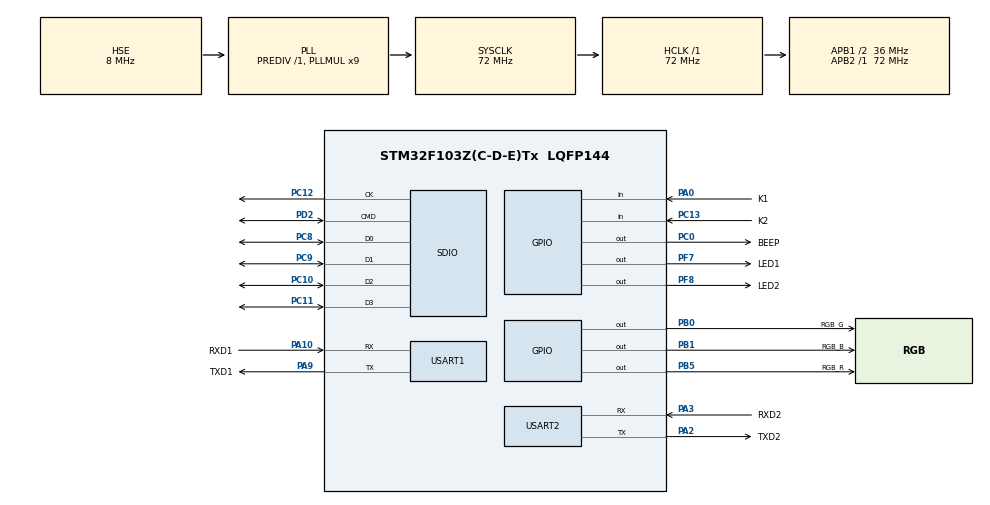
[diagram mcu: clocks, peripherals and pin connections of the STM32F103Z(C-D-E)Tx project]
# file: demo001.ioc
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Dma.Request0=SDIO
Dma.SDIO.0.Direction=DMA_PERIPH_TO_MEMORY
Dma.SDIO.0.Instance=DMA2_Channel4
Dma.SDIO.0.MemDataAlignment=DMA_MDATAALIGN_WORD
Dma.SDIO.0.MemInc=DMA_MINC_ENABLE
Dma.SDIO.0.Mode=DMA_CIRCULAR
Dma.SDIO.0.PeriphDataAlignment=DMA_PDATAALIGN_WORD
Dma.SDIO.0.PeriphInc=DMA_PINC_DISABLE
Dma.SDIO.0.Priority=DMA_PRIORITY_LOW
FATFS._CODE_PAGE=936
FATFS._FS_MINIMIZE=2
FATFS._FS_REENTRANT=0
FATFS._MAX_LFN=128
FATFS._USE_LFN=2
FATFS._USE_STRFUNC=2
FREERTOS.Mutexes01=AppPrintfMutex,Dynamic,NULL
FREERTOS.Tasks01=defaultTask,24,1024,StartDefaultTask,Default,NULL,Dynamic,NULL,NULL
FREERTOS.configTOTAL_HEAP_SIZE=10240
Mcu.Family=STM32F1
Mcu.Name=STM32F103Z(C-D-E)Tx
Mcu.Package=LQFP144
NVIC.DMA2_Channel4_5_IRQn=true\:5\:0\:false\:false\:true\:true\:false\:true\:true
NVIC.PriorityGroup=NVIC_PRIORITYGROUP_4
NVIC.SDIO_IRQn=true\:6\:0\:true\:false\:true\:true\:true\:true\:true
OSC_IN.Mode=HSE-External-Oscillator
OSC_IN.Signal=RCC_OSC_IN
OSC_OUT.Mode=HSE-External-Oscillator
OSC_OUT.Signal=RCC_OSC_OUT
PA0-WKUP.GPIO_Label=K1
PA0-WKUP.Signal=GPIO_Input
PA10.GPIO_Label=RXD1
PA10.Mode=Asynchronous
PA10.Signal=USART1_RX
PA13.Mode=Serial_Wire
PA13.Signal=SYS_JTMS-SWDIO
PA14.Mode=Serial_Wire
PA14.Signal=SYS_JTCK-SWCLK
PA2.GPIO_Label=TXD2
PA2.Mode=Asynchronous
PA2.Signal=USART2_TX
PA3.GPIO_Label=RXD2
PA3.Mode=Asynchronous
PA3.Signal=USART2_RX
PA9.GPIO_Label=TXD1
PA9.Mode=Asynchronous
PA9.Signal=USART1_TX
PB0.GPIO_Label=RGB_G
PB0.PinState=GPIO_PIN_SET
PB0.Signal=GPIO_Output
PB1.GPIO_Label=RGB_B
PB1.PinState=GPIO_PIN_SET
PB1.Signal=GPIO_Output
PB5.GPIO_Label=RGB_R
PB5.PinState=GPIO_PIN_SET
PB5.Signal=GPIO_Output
PC0.GPIO_Label=BEEP
PC0.GPIO_Speed=GPIO_SPEED_FREQ_HIGH
PC0.Signal=GPIO_Output
PC10.Mode=SD_4_bits_Wide_bus
PC10.Signal=SDIO_D2
PC11.Mode=SD_4_bits_Wide_bus
PC11.Signal=SDIO_D3
PC12.Mode=SD_4_bits_Wide_bus
PC12.Signal=SDIO_CK
PC13-TAMPER-RTC.GPIO_Label=K2
PC13-TAMPER-RTC.Signal=GPIO_Input
PC8.Mode=SD_4_bits_Wide_bus
PC8.Signal=SDIO_D0
PC9.Mode=SD_4_bits_Wide_bus
PC9.Signal=SDIO_D1
PD2.Mode=SD_4_bits_Wide_bus
PD2.Signal=SDIO_CMD
PF7.GPIO_Label=LED1
PF7.PinState=GPIO_PIN_SET
PF7.Signal=GPIO_Output
PF8.GPIO_Label=LED2
PF8.PinState=GPIO_PIN_SET
PF8.Signal=GPIO_Output
ProjectManager.HeapSize=0x200
ProjectManager.StackSize=0x1000
ProjectManager.TargetToolchain=MDK-ARM V5.32
RCC.AHBFreq_Value=72000000
RCC.APB1CLKDivider=RCC_HCLK_DIV2
RCC.APB1Freq_Value=36000000
RCC.APB1TimFreq_Value=72000000
RCC.APB2Freq_Value=72000000
RCC.APB2TimFreq_Value=72000000
RCC.HCLKFreq_Value=72000000
RCC.PLLMUL=RCC_PLL_MUL9
RCC.PLLSourceVirtual=RCC_PLLSOURCE_HSE
RCC.SYSCLKFreq_VALUE=72000000
RCC.SYSCLKSource=RCC_SYSCLKSOURCE_PLLCLK
RCC.USBFreq_Value=72000000
SDIO.ClockDiv=7
SDIO.HardwareFlowControl=SDIO_HARDWARE_FLOW_CONTROL_DISABLE
USART1.VirtualMode=VM_ASYNC
USART2.VirtualMode=VM_ASYNC
VP_FATFS_VS_SDIO.Mode=SDIO
VP_FREERTOS_VS_CMSIS_V2.Mode=CMSIS_V2
board=custom

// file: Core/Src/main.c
/* USER CODE BEGIN Header */
/**
  ******************************************************************************
  * @file           : main.c
  * @brief          : Main program body
  ******************************************************************************
  * @attention
  *
  * Copyright (c) 2023 STMicroelectronics.
  * All rights reserved.
  *
  * This software is licensed under terms that can be found in the LICENSE file
  * in the root directory of this software component.
  * If no LICENSE file comes with this software, it is provided AS-IS.
  *
  ******************************************************************************
  */
/* USER CODE END Header */
#include "main.h"
#include "cmsis_os.h"
#include "dma.h"
#include "fatfs.h"
#include "sdio.h"
#include "usart.h"
#include "gpio.h"

void SystemClock_Config(void);
void MX_FREERTOS_Init(void);
/* USER CODE BEGIN PFP */
extern uint8_t BSP_SD_Init(void);
/* USER CODE END PFP */

int main(void)
{

  /* MCU Configuration--------------------------------------------------------*/

  /* Reset of all peripherals, Initializes the Flash interface and the Systick. */
  HAL_Init();

  /* Configure the system clock */
  SystemClock_Config();

  /* Initialize all configured peripherals */
  MX_GPIO_Init();
  MX_DMA_Init();
  MX_SDIO_SD_Init();
  MX_USART1_UART_Init();
  MX_USART2_UART_Init();
  MX_FATFS_Init();
  /* USER CODE BEGIN 2 */
  //MX_FATFS_Init();//文件系统初始化函数 在里面注册我们选择的逻辑驱动的数量的驱动盘
  //cubemx初始化4线制 SDIO有bug 我们在挂载文件系统之前 将SDIO先设置为1线制
  //在挂载文件系统函数里有初始化函数(最后一步的初始化 调用函数SD_initialize 此函数在sd_diskio.c中) 此函数结束后，会在设置 成4线制
   hsd.Init.BusWide = SDIO_BUS_WIDE_1B;
  /* USER CODE END 2 */

  /* Init scheduler */
  osKernelInitialize();  /* Call init function for freertos objects (in freertos.c) */
  MX_FREERTOS_Init();

  /* Start scheduler */
  osKernelStart();
  /* We should never get here as control is now taken by the scheduler */
  /* Infinite loop */
  while (1)
  {

  }
}

void SystemClock_Config(void)
{
  RCC_OscInitTypeDef RCC_OscInitStruct = {0};
  RCC_ClkInitTypeDef RCC_ClkInitStruct = {0};

  /** Initializes the RCC Oscillators according to the specified parameters
  * in the RCC_OscInitTypeDef structure.
  */
  RCC_OscInitStruct.OscillatorType = RCC_OSCILLATORTYPE_HSE;
  RCC_OscInitStruct.HSEState = RCC_HSE_ON;
  RCC_OscInitStruct.HSEPredivValue = RCC_HSE_PREDIV_DIV1;
  RCC_OscInitStruct.HSIState = RCC_HSI_ON;
  RCC_OscInitStruct.PLL.PLLState = RCC_PLL_ON;
  RCC_OscInitStruct.PLL.PLLSource = RCC_PLLSOURCE_HSE;
  RCC_OscInitStruct.PLL.PLLMUL = RCC_PLL_MUL9;
  if (HAL_RCC_OscConfig(&RCC_OscInitStruct) != HAL_OK)
  {
    Error_Handler();
  }

  /** Initializes the CPU, AHB and APB buses clocks
  */
  RCC_ClkInitStruct.ClockType = RCC_CLOCKTYPE_HCLK|RCC_CLOCKTYPE_SYSCLK
                              |RCC_CLOCKTYPE_PCLK1|RCC_CLOCKTYPE_PCLK2;
  RCC_ClkInitStruct.SYSCLKSource = RCC_SYSCLKSOURCE_PLLCLK;
  RCC_ClkInitStruct.AHBCLKDivider = RCC_SYSCLK_DIV1;
  RCC_ClkInitStruct.APB1CLKDivider = RCC_HCLK_DIV2;
  RCC_ClkInitStruct.APB2CLKDivider = RCC_HCLK_DIV1;

  if (HAL_RCC_ClockConfig(&RCC_ClkInitStruct, FLASH_LATENCY_2) != HAL_OK)
  {
    Error_Handler();
  }
}

void Error_Handler(void)
{
  __disable_irq();
  while (1)
  {
  }
}

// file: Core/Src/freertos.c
/* USER CODE BEGIN Header */
/**
  ******************************************************************************
  * File Name          : freertos.c
  * Description        : Code for freertos applications
  ******************************************************************************
  * @attention
  *
  * Copyright (c) 2023 STMicroelectronics.
  * All rights reserved.
  *
  * This software is licensed under terms that can be found in the LICENSE file
  * in the root directory of this software component.
  * If no LICENSE file comes with this software, it is provided AS-IS.
  *
  ******************************************************************************
  */
/* USER CODE END Header */

#include "FreeRTOS.h"
#include "task.h"
#include "main.h"
#include "cmsis_os.h"

/* USER CODE BEGIN Includes */
#include "myinclude.h"
#include "sdio.h"
#include "usart.h"

#include "ff.h"
#include "ff_gen_drv.h"
#include "sd_diskio.h"
/* USER CODE END Includes */

/* USER CODE BEGIN PTD */

//extern Diskio_drvTypeDef  USER_Driver ;
//extern Diskio_drvTypeDef  SD_Driver ;
extern void MX_SDIO_SD_Init(void);
//extern char USERPath[4];                   /* SD卡逻辑设备路径 */
extern char SDPath[4];                   /* SD卡逻辑设备路径 */
FATFS fs;													/* FatFs文件系统对象 */
FIL file;													/* 文件对象 */
FRESULT f_res;                    /* 文件操作结果 */
UINT fnum;            					  /* 文件成功读写数量 */
BYTE ReadBuffer[1024]={0};        /* 读缓冲区 */
BYTE WriteBuffer[]= "壹贰叁肆cocoguojia test sdio 文件系统\r\n";
	uint32_t resTemp=0;
#define BLOCK_START_ADDR         0     /* Block start address      */
#define NUM_OF_BLOCKS            1   /* Total number of blocks   */
#define BUFFER_WORDS_SIZE        ((BLOCKSIZE * NUM_OF_BLOCKS) >> 2) /* Total data size in bytes */
void ShowFun(HAL_SD_CardStateTypeDef n);
static void printf_fatfs_error(FRESULT fresult);
void SD_Test(void);
/* USER CODE END PTD */

/* Definitions for defaultTask */
osThreadId_t defaultTaskHandle;
const osThreadAttr_t defaultTask_attributes = {
  .name = "defaultTask",
  .stack_size = 1024 * 4,
  .priority = (osPriority_t) osPriorityNormal,
};
/* Definitions for AppPrintfMutex */
osMutexId_t AppPrintfMutexHandle;
const osMutexAttr_t AppPrintfMutex_attributes = {
  .name = "AppPrintfMutex"
};

void StartDefaultTask(void *argument);

void MX_FREERTOS_Init(void); /* (MISRA C 2004 rule 8.1) */

void MX_FREERTOS_Init(void) {
  /* Create the mutex(es) */
  /* creation of AppPrintfMutex */
  AppPrintfMutexHandle = osMutexNew(&AppPrintfMutex_attributes);

  /* Create the thread(s) */
  /* creation of defaultTask */
  defaultTaskHandle = osThreadNew(StartDefaultTask, NULL, &defaultTask_attributes);

}

void StartDefaultTask(void *argument)
{
  /* USER CODE BEGIN StartDefaultTask */
  /* Infinite loop */

    while(!(K1ING))
    {
        while(!(K1ING))
        {
               RGBR_EN;
            osDelay(10);
        }
        osDelay(100);
    }
       RGBP_EN;
       osDelay(1000);

         RGBY_EN;
          osDelay(1000);
    App_Printf("POWER ON");
     RGBW_EN;

    SD_Test();
       RGB_ALLOFF;
  for(;;)
  {

        LED1_EN;
        osDelay(1000);
        LED1_NO;
        App_Printf("cocoguojia\r\n");
        osDelay(1000);
  }
  /* USER CODE END StartDefaultTask */
}

/* USER CODE BEGIN Application */
void SD_Test(void)
{
  uint8_t i;
    printf("》%s\r\n",SDPath);//显示一下 当前的SDPath驱动盘

    //在SD卡挂载文件系统，文件系统挂载时会对SD卡初始化
    f_res = f_mount(&fs,(TCHAR const*)SDPath,1);//在驱动盘SDPath上挂载文件系统 并且立即生效
    printf_fatfs_error(f_res);

    /*----------------------- 格式化测试 ---------------------------*/
    /* 如果没有文件系统就格式化创建创建文件系统 */
    if(f_res == FR_NO_FILESYSTEM)
    {
      printf("》SD卡还没有文件系统，即将进行格式化...\r\n");
      /* 格式化 */
      f_res=f_mkfs((TCHAR const*)SDPath,0,0);

      if(f_res == FR_OK)
      {
        printf("》SD卡已成功格式化文件系统。\r\n");
        /* 格式化后，先取消挂载 */
        f_res = f_mount(NULL,(TCHAR const*)SDPath,1);
        /* 重新挂载	*/
        f_res = f_mount(&fs,(TCHAR const*)SDPath,1);
      }
      else
      {
        printf("《《格式化失败。》》\r\n");
        while(1);
      }
    }
    else if(f_res!=FR_OK)
    {
      printf("！！SD卡挂载文件系统失败。(%d)\r\n",f_res);
      printf_fatfs_error(f_res);
      while(1);
    }
    else
    {
      printf("》文件系统挂载成功，可以进行读写测试\r\n");
    }

    osDelay(200);
    /*----------------------- 文件系统测试：写测试 -----------------------------*/
    /* 打开文件，如果文件不存在则创建它 */
    printf("****** 即将进行文件写入测试... ******\r\n");
    f_res = f_open(&file, "我的文件001.txt",FA_CREATE_ALWAYS | FA_WRITE );
    if ( f_res == FR_OK )
    {
      printf("》打开/创建FatFs读写测试文件.txt文件成功，向文件写入数据。\r\n");
      /* 将指定存储区内容写入到文件内 */
      f_res=f_write(&file,WriteBuffer,sizeof(WriteBuffer),&fnum);
      if(f_res==FR_OK)
      {
        printf("》文件写入成功，写入字节数据：%d\r\n",fnum);
        printf("》向文件写入的数据为：\r\n%s\r\n",WriteBuffer);
      }
      else
      {
        printf("！！文件写入失败：(%d)\r\n",f_res);
      }
      /* 不再读写，关闭文件 */
      f_close(&file);
    }
    else
    {

      printf("！！打开/创建文件失败。\r\n");
    }
          osDelay(1000);
    /*------------------- 文件系统测试：读测试 ------------------------------------*/
    printf("****** 即将进行文件读取测试... ******\r\n");
    f_res = f_open(&file, "我的文件001.txt", FA_OPEN_EXISTING | FA_READ);
    if(f_res == FR_OK)
    {
      printf("》打开文件成功。\r\n");

      for(i=0;i<=4;i++)
      {

          f_lseek(&file, i*2);//相对偏移的单位是字节 所以是偏移了2个字节 即一个汉字

          f_res = f_read(&file, ReadBuffer, sizeof(ReadBuffer), &fnum);
          if(f_res==FR_OK)
          {
            printf("》文件读取成功,读到字节数据：%d\r\n",fnum);
            printf("》读取得的文件数据为：\r\n%s \r\n", ReadBuffer);
          }
          else
          {
            printf("！！文件读取失败：(%d)\r\n",f_res);
          }
      }
    }
    else
    {
     printf_fatfs_error(f_res);
      printf("！！打开文件失败。\r\n");
    }

    /* 不再读写，关闭文件 */
    f_close(&file);

    /* 不再使用，取消挂载 */
    f_res = f_mount(NULL,(TCHAR const*)SDPath,1);

  /* 注销一个FatFS设备：SD卡 */
  FATFS_UnLinkDriver(SDPath);

}

/**
  * @brief  打印输出信息
  * @param  无
  * @retval 无
  */
static void printf_fatfs_error(FRESULT fresult)
{
  switch(fresult)
  {
    case FR_OK:
      printf("》操作成功。\r\n");
    break;
    case FR_DISK_ERR:
      printf("！！硬件输入输出驱动出错。\r\n");
    break;
    case FR_INT_ERR:
      printf("！！断言错误。\r\n");
    break;
    case FR_NOT_READY:
      printf("！！物理设备无法工作。\r\n");
    break;
    case FR_NO_FILE:
      printf("！！无法找到文件。\r\n");
    break;
    case FR_NO_PATH:
      printf("！！无法找到路径。\r\n");
    break;
    case FR_INVALID_NAME:
      printf("！！无效的路径名。\r\n");
    break;
    case FR_DENIED:
    case FR_EXIST:
      printf("！！拒绝访问。\r\n");
    break;
    case FR_INVALID_OBJECT:
      printf("！！无效的文件或路径。\r\n");
    break;
    case FR_WRITE_PROTECTED:
      printf("！！逻辑设备写保护。\r\n");
    break;
    case FR_INVALID_DRIVE:
      printf("！！无效的逻辑设备。\r\n");
    break;
    case FR_NOT_ENABLED:
      printf("！！无效的工作区。\r\n");
    break;
    case FR_NO_FILESYSTEM:
      printf("！！无效的文件系统。\r\n");
    break;
    case FR_MKFS_ABORTED:
      printf("！！因函数参数问题导致f_mkfs函数操作失败。\r\n");
    break;
    case FR_TIMEOUT:
      printf("！！操作超时。\r\n");
    break;
    case FR_LOCKED:
      printf("！！文件被保护。\r\n");
    break;
    case FR_NOT_ENOUGH_CORE:
      printf("！！长文件名支持获取堆空间失败。\r\n");
    break;
    case FR_TOO_MANY_OPEN_FILES:
      printf("！！打开太多文件。\r\n");
    break;
    case FR_INVALID_PARAMETER:
      printf("！！参数无效。\r\n");
    break;
  }
}

/* USER CODE END Application */
